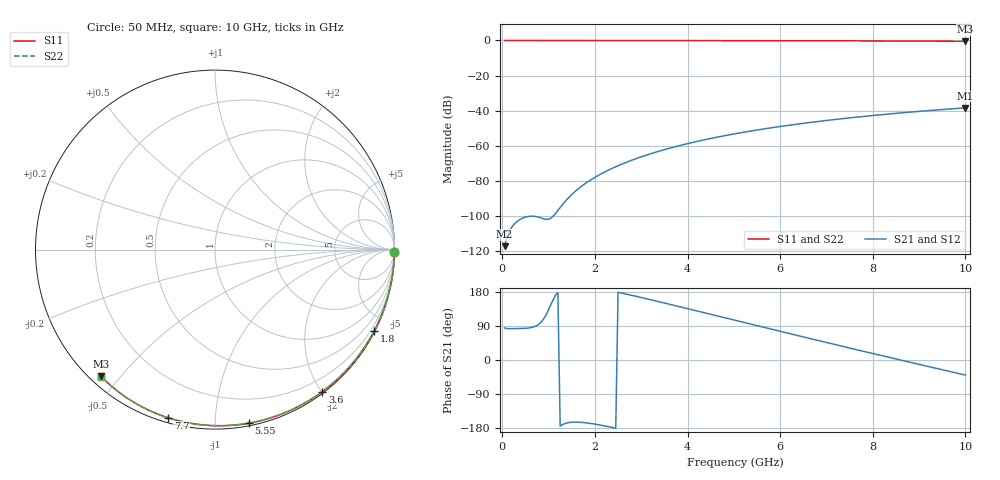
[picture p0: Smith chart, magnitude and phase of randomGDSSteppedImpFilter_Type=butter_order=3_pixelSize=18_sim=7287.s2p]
! freq	dB(S11)	phase(S11)	dB(S12)	phase(S12)
!  dB(S21)	phase(S21)	dB(S22)	phase(S22)
!S-par simulation data
#  GHz  S  DB  R 50
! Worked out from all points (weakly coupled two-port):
!   200 points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, 50 MHz to 10 GHz, reference 50 ohm
!   highest |S21| = -38.39 dB at 10 GHz (marker M1); lowest = -117.2 dB at 50 MHz (marker M2)
!   lowest |S11| = -0.4 dB at 10 GHz (marker M3), VSWR 38.90, Z = 1.54 - j22.2 ohm
!   |S11| at or under -10 dB: nowhere
!   |S22| runs from -0.4 to 0.0 dB; largest |S21 - S12| = 0
!   S11 on the Smith chart (normalised r, x): 50 MHz: open; 1.8 GHz: 0.04, -4.16; 3.6 GHz: 0.02, -2.01; 5.55 GHz: 0.02, -1.21; 7.7 GHz: 0.02, -0.76; 10 GHz: 0.03, -0.44
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0.05  -0.00 -0.8  -117.19 84.4  -117.19 84.4  -0.00 -0.8
0.9  -0.02 -13.7  -101.65 110.0  -101.65 110.0  -0.02 -13.6
1.75  -0.03 -26.3  -82.28 -165.0  -82.28 -165.0  -0.03 -26.3
1.8  -0.03 -27.1  -81.34 -165.7  -81.34 -165.7  -0.03 -27.0
1.85  -0.04 -27.8  -80.45 -166.4  -80.45 -166.4  -0.04 -27.7
1.9  -0.04 -28.5  -79.59 -167.3  -79.59 -167.3  -0.04 -28.5
2.05  -0.04 -30.7  -77.21 -170.3  -77.21 -170.3  -0.04 -30.7
2.25  -0.04 -33.7  -74.41 -174.9  -74.41 -174.9  -0.04 -33.6
2.45  -0.05 -36.6  -71.93 -179.9  -71.93 -179.9  -0.05 -36.5
2.65  -0.05 -39.5  -69.70 174.7  -69.70 174.7  -0.05 -39.4
3  -0.06 -44.5  -66.29 164.9  -66.29 164.9  -0.06 -44.4
3.4  -0.07 -50.1  -62.96 153.3  -62.96 153.3  -0.07 -50.0
3.6  -0.07 -52.9  -61.46 147.5  -61.46 147.5  -0.07 -52.8
4.3  -0.09 -62.5  -56.96 126.6  -56.96 126.6  -0.09 -62.4
5.05  -0.11 -72.5  -53.03 104.1  -53.03 104.1  -0.11 -72.4
5.55  -0.13 -79.0  -50.80 89.2  -50.80 89.2  -0.13 -78.9
6.1  -0.15 -86.0  -48.63 72.8  -48.63 72.8  -0.15 -85.9
6.7  -0.18 -93.5  -46.53 55.0  -46.53 55.0  -0.18 -93.3
7.7  -0.24 -105.5  -43.54 25.8  -43.54 25.8  -0.24 -105.3
8.35  -0.29 -113.1  -41.88 7.0  -41.88 7.0  -0.29 -113.0
9.15  -0.36 -122.4  -40.07 -15.8  -40.07 -15.8  -0.36 -122.2
10  -0.45 -132.0  -38.39 -39.8  -38.39 -39.8  -0.45 -131.8
